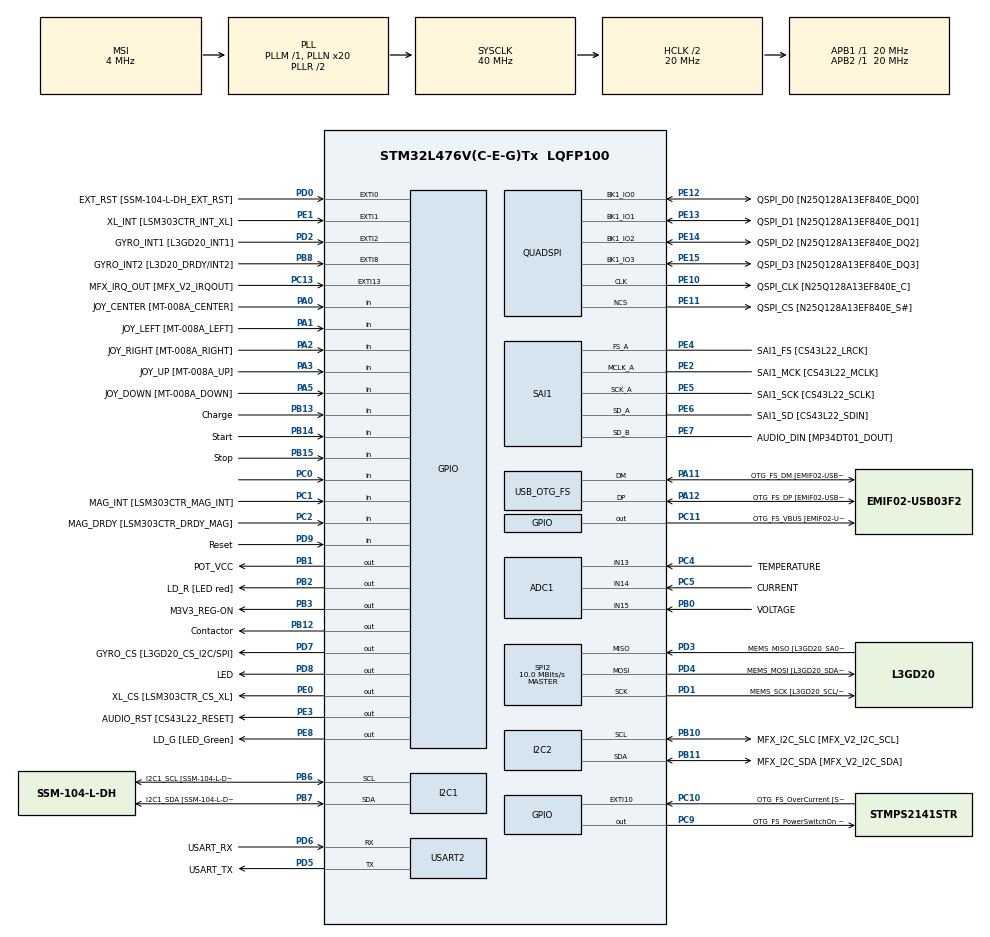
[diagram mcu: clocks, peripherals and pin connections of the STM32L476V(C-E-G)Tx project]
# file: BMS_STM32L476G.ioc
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ADC1.Channel-3\#ChannelRegularConversion=ADC_CHANNEL_13
ADC1.Channel-4\#ChannelRegularConversion=ADC_CHANNEL_14
ADC1.Channel-5\#ChannelRegularConversion=ADC_CHANNEL_15
ADC1.NbrOfConversion=3
ADC1.NbrOfConversionFlag=1
ADC1.OffsetNumber-3\#ChannelRegularConversion=ADC_OFFSET_NONE
ADC1.OffsetNumber-4\#ChannelRegularConversion=ADC_OFFSET_NONE
ADC1.OffsetNumber-5\#ChannelRegularConversion=ADC_OFFSET_NONE
ADC1.Rank-3\#ChannelRegularConversion=1
ADC1.Rank-4\#ChannelRegularConversion=2
ADC1.Rank-5\#ChannelRegularConversion=3
ADC1.SamplingTime-3\#ChannelRegularConversion=ADC_SAMPLETIME_2CYCLES_5
ADC1.SamplingTime-4\#ChannelRegularConversion=ADC_SAMPLETIME_2CYCLES_5
ADC1.SamplingTime-5\#ChannelRegularConversion=ADC_SAMPLETIME_2CYCLES_5
ADC1.master=1
FREERTOS.BinarySemaphores01=BinSem,Dynamic,NULL
FREERTOS.Tasks01=Measurements,32,128,StartMeasurements,Default,NULL,Dynamic,NULL,NULL;StateMachine,24,128,StartStateMachine,Default,NULL,Dynamic,NULL,NULL;Led,16,128,StartLed,Default,NULL,Dynamic,NULL,NULL
I2C1.Timing=0x00404C74
I2C2.Timing=0x00404C74
Mcu.Family=STM32L4
Mcu.Name=STM32L476V(C-E-G)Tx
Mcu.Package=LQFP100
NVIC.OTG_FS_IRQn=true\:0\:0\:false\:false\:true\:false\:true\:true
NVIC.PriorityGroup=NVIC_PRIORITYGROUP_4
NVIC.TIM1_UP_TIM16_IRQn=true\:0\:0\:false\:false\:true\:false\:false\:true
NVIC.TimeBase=TIM1_UP_TIM16_IRQn
NVIC.TimeBaseIP=TIM1
PA0.GPIO_Label=JOY_CENTER [MT-008A_CENTER]
PA0.GPIO_Mode=GPIO_MODE_INPUT
PA0.GPIO_PuPd=GPIO_PULLDOWN
PA0.Signal=GPIO_Input
PA1.GPIO_Label=JOY_LEFT [MT-008A_LEFT]
PA1.GPIO_Mode=GPIO_MODE_INPUT
PA1.GPIO_PuPd=GPIO_PULLDOWN
PA1.Signal=GPIO_Input
PA11.GPIO_Label=OTG_FS_DM [EMIF02-USB03F2_D-out]
PA11.GPIO_Mode=GPIO_MODE_AF_PP
PA11.GPIO_PuPd=GPIO_NOPULL
PA11.GPIO_Speed=GPIO_SPEED_FREQ_VERY_HIGH
PA11.Mode=Host_Only
PA11.Signal=USB_OTG_FS_DM
PA12.GPIO_Label=OTG_FS_DP [EMIF02-USB03F2_D+out]
PA12.GPIO_Mode=GPIO_MODE_AF_PP
PA12.GPIO_PuPd=GPIO_NOPULL
PA12.GPIO_Speed=GPIO_SPEED_FREQ_VERY_HIGH
PA12.Mode=Host_Only
PA12.Signal=USB_OTG_FS_DP
PA13\ (JTMS-SWDIO).GPIO_Label=SWDIO
PA13\ (JTMS-SWDIO).Mode=Serial_Wire
PA13\ (JTMS-SWDIO).Signal=SYS_JTMS-SWDIO
PA14\ (JTCK-SWCLK).GPIO_Label=SWCLK
PA14\ (JTCK-SWCLK).Mode=Serial_Wire
PA14\ (JTCK-SWCLK).Signal=SYS_JTCK-SWCLK
PA2.GPIO_Label=JOY_RIGHT [MT-008A_RIGHT]
PA2.GPIO_Mode=GPIO_MODE_INPUT
PA2.GPIO_PuPd=GPIO_PULLDOWN
PA2.Signal=GPIO_Input
PA3.GPIO_Label=JOY_UP [MT-008A_UP]
PA3.GPIO_Mode=GPIO_MODE_INPUT
PA3.GPIO_PuPd=GPIO_PULLDOWN
PA3.Signal=GPIO_Input
PA5.GPIO_Label=JOY_DOWN [MT-008A_DOWN]
PA5.GPIO_Mode=GPIO_MODE_INPUT
PA5.GPIO_PuPd=GPIO_PULLDOWN
PA5.Signal=GPIO_Input
PB0.GPIO_Label=VOLTAGE
PB0.Signal=ADCx_IN15
PB1.GPIO_Label=POT_VCC
PB1.PinState=GPIO_PIN_SET
PB1.Signal=GPIO_Output
PB10.GPIO_Label=MFX_I2C_SLC [MFX_V2_I2C_SCL]
PB10.GPIO_Mode=GPIO_MODE_AF_OD
PB10.GPIO_PuPdOD=GPIO_PULLUP
PB10.GPIO_Speed=GPIO_SPEED_FREQ_VERY_HIGH
PB10.Mode=I2C
PB10.Signal=I2C2_SCL
PB11.GPIO_Label=MFX_I2C_SDA [MFX_V2_I2C_SDA]
PB11.GPIO_Mode=GPIO_MODE_AF_OD
PB11.GPIO_PuPdOD=GPIO_PULLUP
PB11.GPIO_Speed=GPIO_SPEED_FREQ_VERY_HIGH
PB11.Mode=I2C
PB11.Signal=I2C2_SDA
PB12.GPIO_Label=Contactor
PB12.Signal=GPIO_Output
PB13.GPIO_Label=Charge
PB13.Signal=GPIO_Input
PB14.GPIO_Label=Start
PB14.Signal=GPIO_Input
PB15.GPIO_Label=Stop
PB15.Signal=GPIO_Input
PB2.GPIO_Label=LD_R [LED red]
PB2.GPIO_ModeDefaultOutputPP=GPIO_MODE_OUTPUT_PP
PB2.GPIO_PuPd=GPIO_PULLUP
PB2.GPIO_Speed=GPIO_SPEED_FREQ_VERY_HIGH
PB2.Signal=GPIO_Output
PB3\ (JTDO-TRACESWO).GPIO_Label=M3V3_REG-ON
PB3\ (JTDO-TRACESWO).GPIO_ModeDefaultOutputPP=GPIO_MODE_OUTPUT_PP
PB3\ (JTDO-TRACESWO).GPIO_PuPd=GPIO_NOPULL
PB3\ (JTDO-TRACESWO).GPIO_Speed=GPIO_SPEED_FREQ_LOW
PB3\ (JTDO-TRACESWO).Signal=GPIO_Output
PB6.GPIO_FM6=__NULL
PB6.GPIO_Label=I2C1_SCL [SSM-104-L-DH_SCL]
PB6.GPIO_Mode=GPIO_MODE_AF_OD
PB6.GPIO_PuPdOD=GPIO_PULLUP
PB6.GPIO_Speed=GPIO_SPEED_FREQ_VERY_HIGH
PB6.Mode=I2C
PB6.Signal=I2C1_SCL
PB7.GPIO_FM7=__NULL
PB7.GPIO_Label=I2C1_SDA [SSM-104-L-DH_SDA]
PB7.GPIO_Mode=GPIO_MODE_AF_OD
PB7.GPIO_PuPdOD=GPIO_PULLUP
PB7.GPIO_Speed=GPIO_SPEED_FREQ_VERY_HIGH
PB7.Mode=I2C
PB7.Signal=I2C1_SDA
PB8.GPIO_Label=GYRO_INT2 [L3D20_DRDY/INT2]
PB8.GPIO_ModeDefaultEXTI=GPIO_MODE_EVT_RISING
PB8.GPIO_PuPd=GPIO_NOPULL
PB8.Signal=GPXTI8
PC0.Signal=GPIO_Input
PC1.GPIO_Label=MAG_INT [LSM303CTR_MAG_INT]
PC1.GPIO_Mode=GPIO_MODE_INPUT
PC1.GPIO_PuPd=GPIO_NOPULL
PC1.Signal=GPIO_Input
PC10.GPIO_Label=OTG_FS_OverCurrent [STMPS2141STR_FAULT]
PC10.GPIO_ModeDefaultEXTI=GPIO_MODE_EVT_RISING
PC10.GPIO_PuPd=GPIO_NOPULL
PC10.Signal=GPXTI10
PC11.GPIO_Label=OTG_FS_VBUS [EMIF02-USB03F2_Vbus]
PC11.GPIO_ModeDefaultOutputPP=GPIO_MODE_OUTPUT_PP
PC11.GPIO_PuPd=GPIO_NOPULL
PC11.GPIO_Speed=GPIO_SPEED_FREQ_LOW
PC11.Signal=GPIO_Output
PC13.GPIO_Label=MFX_IRQ_OUT [MFX_V2_IRQOUT]
PC13.GPIO_ModeDefaultEXTI=GPIO_MODE_EVT_RISING
PC13.GPIO_PuPd=GPIO_NOPULL
PC13.Signal=GPXTI13
PC14-OSC32_IN\ (PC14).Mode=LSE-External-Oscillator
PC14-OSC32_IN\ (PC14).Signal=RCC_OSC32_IN
PC15-OSC32_OUT\ (PC15).Mode=LSE-External-Oscillator
PC15-OSC32_OUT\ (PC15).Signal=RCC_OSC32_OUT
PC2.GPIO_Label=MAG_DRDY [LSM303CTR_DRDY_MAG]
PC2.GPIO_Mode=GPIO_MODE_INPUT
PC2.GPIO_PuPd=GPIO_NOPULL
PC2.Signal=GPIO_Input
PC3.GPIO_Label=VLCD
PC3.GPIO_Mode=GPIO_MODE_AF_PP
PC3.GPIO_PuPd=GPIO_NOPULL
PC3.GPIO_Speed=GPIO_SPEED_FREQ_LOW
PC3.Signal=LCD_VLCD
PC4.GPIO_Label=TEMPERATURE
PC4.Signal=ADCx_IN13
PC5.GPIO_Label=CURRENT
PC5.Signal=ADCx_IN14
PC9.GPIO_Label=OTG_FS_PowerSwitchOn [STMPS2141STR_EN]
PC9.GPIO_ModeDefaultOutputPP=GPIO_MODE_OUTPUT_PP
PC9.GPIO_PuPd=GPIO_NOPULL
PC9.GPIO_Speed=GPIO_SPEED_FREQ_LOW
PC9.PinState=GPIO_PIN_SET
PC9.Signal=GPIO_Output
PD0.GPIO_Label=EXT_RST [SSM-104-L-DH_EXT_RST]
PD0.GPIO_ModeDefaultEXTI=GPIO_MODE_EVT_RISING
PD0.GPIO_PuPd=GPIO_NOPULL
PD0.Signal=GPXTI0
PD1.GPIO_Label=MEMS_SCK [L3GD20_SCL/SPC]
PD1.GPIO_Mode=GPIO_MODE_AF_PP
PD1.GPIO_PuPd=GPIO_NOPULL
PD1.GPIO_Speed=GPIO_SPEED_FREQ_VERY_HIGH
PD1.Mode=Full_Duplex_Master
PD1.Signal=SPI2_SCK
PD2.GPIO_Label=GYRO_INT1 [L3GD20_INT1]
PD2.GPIO_ModeDefaultEXTI=GPIO_MODE_EVT_RISING
PD2.GPIO_PuPd=GPIO_NOPULL
PD2.Signal=GPXTI2
PD3.GPIO_Label=MEMS_MISO [L3GD20_SA0/SDO]
PD3.GPIO_Mode=GPIO_MODE_AF_PP
PD3.GPIO_PuPd=GPIO_NOPULL
PD3.GPIO_Speed=GPIO_SPEED_FREQ_VERY_HIGH
PD3.Mode=Full_Duplex_Master
PD3.Signal=SPI2_MISO
PD4.GPIO_Label=MEMS_MOSI [L3GD20_SDA/SDI/SDO]
PD4.GPIO_Mode=GPIO_MODE_AF_PP
PD4.GPIO_PuPd=GPIO_NOPULL
PD4.GPIO_Speed=GPIO_SPEED_FREQ_VERY_HIGH
PD4.Mode=Full_Duplex_Master
PD4.Signal=SPI2_MOSI
PD5.GPIO_Label=USART_TX
PD5.GPIO_Mode=GPIO_MODE_AF_PP
PD5.GPIO_PuPd=GPIO_PULLUP
PD5.GPIO_Speed=GPIO_SPEED_FREQ_VERY_HIGH
PD5.Mode=Asynchronous
PD5.Signal=USART2_TX
PD6.GPIO_Label=USART_RX
PD6.GPIO_Mode=GPIO_MODE_AF_PP
PD6.GPIO_PuPd=GPIO_PULLUP
PD6.GPIO_Speed=GPIO_SPEED_FREQ_VERY_HIGH
PD6.Mode=Asynchronous
PD6.Signal=USART2_RX
PD7.GPIO_Label=GYRO_CS [L3GD20_CS_I2C/SPI]
PD7.GPIO_ModeDefaultOutputPP=GPIO_MODE_OUTPUT_PP
PD7.GPIO_PuPd=GPIO_NOPULL
PD7.GPIO_Speed=GPIO_SPEED_FREQ_VERY_HIGH
PD7.Signal=GPIO_Output
PD8.GPIO_Label=LED
PD8.Signal=GPIO_Output
PD9.GPIO_Label=Reset
PD9.Signal=GPIO_Input
PE0.GPIO_Label=XL_CS [LSM303CTR_CS_XL]
PE0.GPIO_ModeDefaultOutputPP=GPIO_MODE_OUTPUT_PP
PE0.GPIO_PuPd=GPIO_NOPULL
PE0.GPIO_Speed=GPIO_SPEED_FREQ_LOW
PE0.Signal=GPIO_Output
PE1.GPIO_Label=XL_INT [LSM303CTR_INT_XL]
PE1.GPIO_ModeDefaultEXTI=GPIO_MODE_EVT_RISING
PE1.GPIO_PuPd=GPIO_NOPULL
PE1.Signal=GPXTI1
PE10.GPIO_Label=QSPI_CLK [N25Q128A13EF840E_C]
PE10.GPIO_Mode=GPIO_MODE_AF_PP
PE10.GPIO_PuPd=GPIO_NOPULL
PE10.GPIO_Speed=GPIO_SPEED_FREQ_VERY_HIGH
PE10.Mode=Single Bank
PE10.Signal=QUADSPI_CLK
PE11.GPIO_Label=QSPI_CS [N25Q128A13EF840E_S\#]
PE11.GPIO_Mode=GPIO_MODE_AF_PP
PE11.GPIO_PuPd=GPIO_NOPULL
PE11.GPIO_Speed=GPIO_SPEED_FREQ_VERY_HIGH
PE11.Mode=Single Bank
PE11.Signal=QUADSPI_NCS
PE12.GPIO_Label=QSPI_D0 [N25Q128A13EF840E_DQ0]
PE12.GPIO_Mode=GPIO_MODE_AF_PP
PE12.GPIO_PuPd=GPIO_NOPULL
PE12.GPIO_Speed=GPIO_SPEED_FREQ_VERY_HIGH
PE12.Mode=Single Bank
PE12.Signal=QUADSPI_BK1_IO0
PE13.GPIO_Label=QSPI_D1 [N25Q128A13EF840E_DQ1]
PE13.GPIO_Mode=GPIO_MODE_AF_PP
PE13.GPIO_PuPd=GPIO_NOPULL
PE13.GPIO_Speed=GPIO_SPEED_FREQ_VERY_HIGH
PE13.Mode=Single Bank
PE13.Signal=QUADSPI_BK1_IO1
PE14.GPIO_Label=QSPI_D2 [N25Q128A13EF840E_DQ2]
PE14.GPIO_Mode=GPIO_MODE_AF_PP
PE14.GPIO_PuPd=GPIO_NOPULL
PE14.GPIO_Speed=GPIO_SPEED_FREQ_VERY_HIGH
PE14.Mode=Single Bank
PE14.Signal=QUADSPI_BK1_IO2
PE15.GPIO_Label=QSPI_D3 [N25Q128A13EF840E_DQ3]
PE15.GPIO_Mode=GPIO_MODE_AF_PP
PE15.GPIO_PuPd=GPIO_NOPULL
PE15.GPIO_Speed=GPIO_SPEED_FREQ_VERY_HIGH
PE15.Mode=Single Bank
PE15.Signal=QUADSPI_BK1_IO3
PE2.GPIO_Label=SAI1_MCK [CS43L22_MCLK]
PE2.GPIO_Mode=GPIO_MODE_AF_PP
PE2.GPIO_PuPd=GPIO_NOPULL
PE2.GPIO_Speed=GPIO_SPEED_FREQ_VERY_HIGH
PE2.Mode=SAI_A_MasterWithClock
PE2.Signal=SAI1_MCLK_A
PE3.GPIO_Label=AUDIO_RST [CS43L22_RESET]
PE3.GPIO_ModeDefaultOutputPP=GPIO_MODE_OUTPUT_PP
PE3.GPIO_PuPd=GPIO_NOPULL
PE3.GPIO_Speed=GPIO_SPEED_FREQ_HIGH
PE3.Signal=GPIO_Output
PE4.GPIO_Label=SAI1_FS [CS43L22_LRCK]
PE4.GPIO_Mode=GPIO_MODE_AF_PP
PE4.GPIO_PuPd=GPIO_NOPULL
PE4.GPIO_Speed=GPIO_SPEED_FREQ_VERY_HIGH
PE4.Mode=SAI_A_MasterWithClock
PE4.Signal=SAI1_FS_A
PE5.GPIO_Label=SAI1_SCK [CS43L22_SCLK]
PE5.GPIO_Mode=GPIO_MODE_AF_PP
PE5.GPIO_PuPd=GPIO_NOPULL
PE5.GPIO_Speed=GPIO_SPEED_FREQ_VERY_HIGH
PE5.Mode=SAI_A_MasterWithClock
PE5.Signal=SAI1_SCK_A
PE6.GPIO_Label=SAI1_SD [CS43L22_SDIN]
PE6.GPIO_Mode=GPIO_MODE_AF_PP
PE6.GPIO_PuPd=GPIO_NOPULL
PE6.GPIO_Speed=GPIO_SPEED_FREQ_VERY_HIGH
PE6.Mode=SAI_A_MasterWithClock
PE6.Signal=SAI1_SD_A
PE7.GPIO_Label=AUDIO_DIN [MP34DT01_DOUT]
PE7.GPIO_Mode=GPIO_MODE_AF_PP
PE7.GPIO_PuPd=GPIO_NOPULL
PE7.GPIO_Speed=GPIO_SPEED_FREQ_VERY_HIGH
PE7.Mode=SAI_B_SyncSlave
PE7.Signal=SAI1_SD_B
PE8.GPIO_Label=LD_G [LED_Green]
PE8.GPIO_ModeDefaultOutputPP=GPIO_MODE_OUTPUT_PP
PE8.GPIO_PuPd=GPIO_PULLUP
PE8.GPIO_Speed=GPIO_SPEED_FREQ_VERY_HIGH
PE8.Signal=GPIO_Output
PE9.GPIO_Label=AUDIO_CLK [MP34DT01_CLK]
PE9.GPIO_Mode=GPIO_MODE_AF_PP
PE9.GPIO_PuPd=GPIO_NOPULL
PE9.GPIO_Speed=GPIO_SPEED_FREQ_LOW
PE9.Signal=SAI1_FS_B
PH0-OSC_IN\ (PH0).Mode=HSE-External-Oscillator
PH0-OSC_IN\ (PH0).Signal=RCC_OSC_IN
PH1-OSC_OUT\ (PH1).Mode=HSE-External-Oscillator
PH1-OSC_OUT\ (PH1).Signal=RCC_OSC_OUT
ProjectManager.HeapSize=0x200
ProjectManager.StackSize=0x400
ProjectManager.TargetToolchain=STM32CubeIDE
RCC.ADCFreq_Value=48000000
RCC.AHBCLKDivider=RCC_SYSCLK_DIV2
RCC.AHBFreq_Value=20000000
RCC.APB1Freq_Value=20000000
RCC.APB1TimFreq_Value=20000000
RCC.APB2Freq_Value=20000000
RCC.APB2TimFreq_Value=20000000
RCC.CortexFreq_Value=20000000
RCC.HCLKFreq_Value=20000000
RCC.HSE_VALUE=8000000
RCC.HSI_VALUE=16000000
RCC.MSI_VALUE=4000000
RCC.PLLN=20
RCC.PLLSAI1N=24
RCC.PREFETCH_ENABLE=1
RCC.SYSCLKFreq_VALUE=40000000
RCC.SYSCLKSource=RCC_SYSCLKSOURCE_PLLCLK
RCC.USBFreq_Value=48000000
RCC.VCOOutputFreq_Value=80000000
SAI1.Instance-SAI_A_MasterWithClock=SAI$Index_Block_A
SAI1.Instance-SAI_B_SyncSlave=SAI$Index_Block_B
SAI1.MClockEnable-SAI_A_MasterWithClock=SAI_MASTERCLOCK_ENABLE
SAI1.Synchro-SAI_B_SyncSlave=SAI_SYNCHRONOUS
SAI1.VirtualMode-SAI_A_MasterWithClock=VM_MASTER
SAI1.VirtualMode-SAI_B_SyncSlave=VM_SLAVE
SH.ADCx_IN13.0=ADC1_IN13,IN13-Single-Ended
SH.ADCx_IN14.0=ADC1_IN14,IN14-Single-Ended
SH.ADCx_IN15.0=ADC1_IN15,IN15-Single-Ended
SPI2.CalculateBaudRate=10.0 MBits/s
SPI2.Direction=SPI_DIRECTION_2LINES
SPI2.Mode=SPI_MODE_MASTER
SPI2.VirtualType=VM_MASTER
USART2.VirtualMode-Asynchronous=VM_ASYNC
USB_OTG_FS.VirtualMode=Host_Only
USB_OTG_FS.phy_itface=HCD_PHY_EMBEDDED
VP_FREERTOS_VS_CMSIS_V2.Mode=CMSIS_V2
VP_IWDG_VS_IWDG.Mode=IWDG_Activate
VP_SYS_VS_tim1.Mode=TIM1
VP_WWDG_VS_WWDG.Mode=WWDG_Activate
board=STM32L476G-DISCO

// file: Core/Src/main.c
/* USER CODE BEGIN Header */
/**
  ******************************************************************************
  * @file           : main.c
  * @brief          : Main program body
  ******************************************************************************
  * @attention
  *
  * <h2><center>&copy; Copyright (c) 2020 STMicroelectronics.
  * All rights reserved.</center></h2>
  *
  * This software component is licensed by ST under Ultimate Liberty license
  * SLA0044, the "License"; You may not use this file except in compliance with
  * the License. You may obtain a copy of the License at:
  *                             www.st.com/SLA0044
  *
  ******************************************************************************
  */
/* USER CODE END Header */
#include "main.h"
#include "cmsis_os.h"

/* USER CODE BEGIN Includes */
#include <stdio.h>
#include <string.h>
#include "led.h"
/* USER CODE END Includes */

ADC_HandleTypeDef hadc1;

I2C_HandleTypeDef hi2c1;
I2C_HandleTypeDef hi2c2;

IWDG_HandleTypeDef hiwdg;

QSPI_HandleTypeDef hqspi;

SAI_HandleTypeDef hsai_BlockA1;
SAI_HandleTypeDef hsai_BlockB1;

SPI_HandleTypeDef hspi2;

UART_HandleTypeDef huart2;

HCD_HandleTypeDef hhcd_USB_OTG_FS;

WWDG_HandleTypeDef hwwdg;

/* Definitions for Measurements */
osThreadId_t MeasurementsHandle;
const osThreadAttr_t Measurements_attributes = {
  .name = "Measurements",
  .priority = (osPriority_t) osPriorityAboveNormal,
  .stack_size = 128 * 4
};
/* Definitions for StateMachine */
osThreadId_t StateMachineHandle;
const osThreadAttr_t StateMachine_attributes = {
  .name = "StateMachine",
  .priority = (osPriority_t) osPriorityNormal,
  .stack_size = 128 * 4
};
/* Definitions for Led */
osThreadId_t LedHandle;
const osThreadAttr_t Led_attributes = {
  .name = "Led",
  .priority = (osPriority_t) osPriorityBelowNormal,
  .stack_size = 128 * 4
};
/* Definitions for BinSem */
osSemaphoreId_t BinSemHandle;
const osSemaphoreAttr_t BinSem_attributes = {
  .name = "BinSem"
};

void SystemClock_Config(void);
static void MX_GPIO_Init(void);
static void MX_I2C1_Init(void);
static void MX_I2C2_Init(void);
static void MX_QUADSPI_Init(void);
static void MX_SAI1_Init(void);
static void MX_SPI2_Init(void);
static void MX_USART2_UART_Init(void);
static void MX_ADC1_Init(void);
static void MX_USB_OTG_FS_HCD_Init(void);
static void MX_IWDG_Init(void);
static void MX_WWDG_Init(void);
void StartMeasurements(void *argument);
void StartStateMachine(void *argument);
void StartLed(void *argument);

/* USER CODE BEGIN 0 */
Battery BatteryPack;

void BatteryInit(void) {
	BatteryPack.voltage = 0;
	BatteryPack.current = 0;
	BatteryPack.temperature = 0;
	for (int i = 0; i < numCells; i++) {
		Cell cell = {
			.voltage = 0,
			.temperature = 0
		};
		BatteryPack.cells[i] = cell;
	}
}

/* This is created to display the state name in serial terminal. */
const char *StateNames[] = {
  "Initialize",
  "Idle",
  "Precharging",
  "Run",
  "Stop",
  "Sleep",
  "NormalDangerFault",
  "SevereDangerFault",
  "Charging",
  "Charged",
  "Balancing"
};

State_t CurrentState = Initialize;
State_t OldState = Sleep;

StateMachine SM[11] = {
    {Initialize, InitializeEvent},
	{Idle, IdleEvent},
	{Precharging, PrechargingEvent},
	{Run, RunEvent},
	{Stop, StopEvent},
	{Sleep, SleepEvent},
	{NormalDangerFault, NormalDangerFaultEvent},
	{SevereDangerFault, SevereDangerFaultEvent},
	{Charging, ChargingEvent},
	{Charged, ChargedEvent},
	{Balancing, BalancingEvent}
};
/* USER CODE END 0 */

int main(void)
{

  /* MCU Configuration--------------------------------------------------------*/

  /* Reset of all peripherals, Initializes the Flash interface and the Systick. */
  HAL_Init();

  /* Configure the system clock */
  SystemClock_Config();

  /* Initialize all configured peripherals */
  MX_GPIO_Init();
  MX_I2C1_Init();
  MX_I2C2_Init();
  MX_QUADSPI_Init();
  MX_SAI1_Init();
  MX_SPI2_Init();
  MX_USART2_UART_Init();
  MX_ADC1_Init();
  MX_USB_OTG_FS_HCD_Init();
  MX_IWDG_Init();
  MX_WWDG_Init();

  /* Init scheduler */
  osKernelInitialize();

  /* Create the semaphores(s) */
  /* creation of BinSem */
  BinSemHandle = osSemaphoreNew(1, 1, &BinSem_attributes);

  /* Create the thread(s) */
  /* creation of Measurements */
  MeasurementsHandle = osThreadNew(StartMeasurements, NULL, &Measurements_attributes);

  /* creation of StateMachine */
  StateMachineHandle = osThreadNew(StartStateMachine, NULL, &StateMachine_attributes);

  /* creation of Led */
  LedHandle = osThreadNew(StartLed, NULL, &Led_attributes);

  /* Start scheduler */
  osKernelStart();

  /* We should never get here as control is now taken by the scheduler */
  /* Infinite loop */
  while (1)
  {

  }
}

void SystemClock_Config(void)
{
  RCC_OscInitTypeDef RCC_OscInitStruct = {0};
  RCC_ClkInitTypeDef RCC_ClkInitStruct = {0};
  RCC_PeriphCLKInitTypeDef PeriphClkInit = {0};

  /** Configure LSE Drive Capability
  */
  HAL_PWR_EnableBkUpAccess();
  __HAL_RCC_LSEDRIVE_CONFIG(RCC_LSEDRIVE_LOW);
  /** Initializes the RCC Oscillators according to the specified parameters
  * in the RCC_OscInitTypeDef structure.
  */
  RCC_OscInitStruct.OscillatorType = RCC_OSCILLATORTYPE_LSI|RCC_OSCILLATORTYPE_LSE
                              |RCC_OSCILLATORTYPE_MSI;
  RCC_OscInitStruct.LSEState = RCC_LSE_ON;
  RCC_OscInitStruct.LSIState = RCC_LSI_ON;
  RCC_OscInitStruct.MSIState = RCC_MSI_ON;
  RCC_OscInitStruct.MSICalibrationValue = 0;
  RCC_OscInitStruct.MSIClockRange = RCC_MSIRANGE_6;
  RCC_OscInitStruct.PLL.PLLState = RCC_PLL_ON;
  RCC_OscInitStruct.PLL.PLLSource = RCC_PLLSOURCE_MSI;
  RCC_OscInitStruct.PLL.PLLM = 1;
  RCC_OscInitStruct.PLL.PLLN = 20;
  RCC_OscInitStruct.PLL.PLLP = RCC_PLLP_DIV7;
  RCC_OscInitStruct.PLL.PLLQ = RCC_PLLQ_DIV2;
  RCC_OscInitStruct.PLL.PLLR = RCC_PLLR_DIV2;
  if (HAL_RCC_OscConfig(&RCC_OscInitStruct) != HAL_OK)
  {
    Error_Handler();
  }
  /** Initializes the CPU, AHB and APB buses clocks
  */
  RCC_ClkInitStruct.ClockType = RCC_CLOCKTYPE_HCLK|RCC_CLOCKTYPE_SYSCLK
                              |RCC_CLOCKTYPE_PCLK1|RCC_CLOCKTYPE_PCLK2;
  RCC_ClkInitStruct.SYSCLKSource = RCC_SYSCLKSOURCE_PLLCLK;
  RCC_ClkInitStruct.AHBCLKDivider = RCC_SYSCLK_DIV2;
  RCC_ClkInitStruct.APB1CLKDivider = RCC_HCLK_DIV1;
  RCC_ClkInitStruct.APB2CLKDivider = RCC_HCLK_DIV1;

  if (HAL_RCC_ClockConfig(&RCC_ClkInitStruct, FLASH_LATENCY_1) != HAL_OK)
  {
    Error_Handler();
  }
  PeriphClkInit.PeriphClockSelection = RCC_PERIPHCLK_USART2|RCC_PERIPHCLK_SAI1
                              |RCC_PERIPHCLK_I2C1|RCC_PERIPHCLK_I2C2
                              |RCC_PERIPHCLK_USB|RCC_PERIPHCLK_ADC;
  PeriphClkInit.Usart2ClockSelection = RCC_USART2CLKSOURCE_PCLK1;
  PeriphClkInit.I2c1ClockSelection = RCC_I2C1CLKSOURCE_PCLK1;
  PeriphClkInit.I2c2ClockSelection = RCC_I2C2CLKSOURCE_PCLK1;
  PeriphClkInit.Sai1ClockSelection = RCC_SAI1CLKSOURCE_PLLSAI1;
  PeriphClkInit.AdcClockSelection = RCC_ADCCLKSOURCE_PLLSAI1;
  PeriphClkInit.UsbClockSelection = RCC_USBCLKSOURCE_PLLSAI1;
  PeriphClkInit.PLLSAI1.PLLSAI1Source = RCC_PLLSOURCE_MSI;
  PeriphClkInit.PLLSAI1.PLLSAI1M = 1;
  PeriphClkInit.PLLSAI1.PLLSAI1N = 24;
  PeriphClkInit.PLLSAI1.PLLSAI1P = RCC_PLLP_DIV7;
  PeriphClkInit.PLLSAI1.PLLSAI1Q = RCC_PLLQ_DIV2;
  PeriphClkInit.PLLSAI1.PLLSAI1R = RCC_PLLR_DIV2;
  PeriphClkInit.PLLSAI1.PLLSAI1ClockOut = RCC_PLLSAI1_SAI1CLK|RCC_PLLSAI1_48M2CLK
                              |RCC_PLLSAI1_ADC1CLK;
  if (HAL_RCCEx_PeriphCLKConfig(&PeriphClkInit) != HAL_OK)
  {
    Error_Handler();
  }
  /** Configure the main internal regulator output voltage
  */
  if (HAL_PWREx_ControlVoltageScaling(PWR_REGULATOR_VOLTAGE_SCALE1) != HAL_OK)
  {
    Error_Handler();
  }
  /** Enable MSI Auto calibration
  */
  HAL_RCCEx_EnableMSIPLLMode();
}

static void MX_ADC1_Init(void)
{

  ADC_MultiModeTypeDef multimode = {0};
  ADC_ChannelConfTypeDef sConfig = {0};

  /** Common config
  */
  hadc1.Instance = ADC1;
  hadc1.Init.ClockPrescaler = ADC_CLOCK_ASYNC_DIV1;
  hadc1.Init.Resolution = ADC_RESOLUTION_12B;
  hadc1.Init.DataAlign = ADC_DATAALIGN_RIGHT;
  hadc1.Init.ScanConvMode = ADC_SCAN_ENABLE;
  hadc1.Init.EOCSelection = ADC_EOC_SINGLE_CONV;
  hadc1.Init.LowPowerAutoWait = DISABLE;
  hadc1.Init.ContinuousConvMode = DISABLE;
  hadc1.Init.NbrOfConversion = 3;
  hadc1.Init.DiscontinuousConvMode = DISABLE;
  hadc1.Init.ExternalTrigConv = ADC_SOFTWARE_START;
  hadc1.Init.ExternalTrigConvEdge = ADC_EXTERNALTRIGCONVEDGE_NONE;
  hadc1.Init.DMAContinuousRequests = DISABLE;
  hadc1.Init.Overrun = ADC_OVR_DATA_PRESERVED;
  hadc1.Init.OversamplingMode = DISABLE;
  if (HAL_ADC_Init(&hadc1) != HAL_OK)
  {
    Error_Handler();
  }
  /** Configure the ADC multi-mode
  */
  multimode.Mode = ADC_MODE_INDEPENDENT;
  if (HAL_ADCEx_MultiModeConfigChannel(&hadc1, &multimode) != HAL_OK)
  {
    Error_Handler();
  }
  /** Configure Regular Channel
  */
  sConfig.Channel = ADC_CHANNEL_13;
  sConfig.Rank = ADC_REGULAR_RANK_1;
  sConfig.SamplingTime = ADC_SAMPLETIME_2CYCLES_5;
  sConfig.SingleDiff = ADC_SINGLE_ENDED;
  sConfig.OffsetNumber = ADC_OFFSET_NONE;
  sConfig.Offset = 0;
  if (HAL_ADC_ConfigChannel(&hadc1, &sConfig) != HAL_OK)
  {
    Error_Handler();
  }
  /** Configure Regular Channel
  */
  sConfig.Channel = ADC_CHANNEL_14;
  sConfig.Rank = ADC_REGULAR_RANK_2;
  if (HAL_ADC_ConfigChannel(&hadc1, &sConfig) != HAL_OK)
  {
    Error_Handler();
  }
  /** Configure Regular Channel
  */
  sConfig.Channel = ADC_CHANNEL_15;
  sConfig.Rank = ADC_REGULAR_RANK_3;
  if (HAL_ADC_ConfigChannel(&hadc1, &sConfig) != HAL_OK)
  {
    Error_Handler();
  }

}

static void MX_I2C1_Init(void)
{

  hi2c1.Instance = I2C1;
  hi2c1.Init.Timing = 0x00404C74;
  hi2c1.Init.OwnAddress1 = 0;
  hi2c1.Init.AddressingMode = I2C_ADDRESSINGMODE_7BIT;
  hi2c1.Init.DualAddressMode = I2C_DUALADDRESS_DISABLE;
  hi2c1.Init.OwnAddress2 = 0;
  hi2c1.Init.OwnAddress2Masks = I2C_OA2_NOMASK;
  hi2c1.Init.GeneralCallMode = I2C_GENERALCALL_DISABLE;
  hi2c1.Init.NoStretchMode = I2C_NOSTRETCH_DISABLE;
  if (HAL_I2C_Init(&hi2c1) != HAL_OK)
  {
    Error_Handler();
  }
  /** Configure Analogue filter
  */
  if (HAL_I2CEx_ConfigAnalogFilter(&hi2c1, I2C_ANALOGFILTER_ENABLE) != HAL_OK)
  {
    Error_Handler();
  }
  /** Configure Digital filter
  */
  if (HAL_I2CEx_ConfigDigitalFilter(&hi2c1, 0) != HAL_OK)
  {
    Error_Handler();
  }

}

static void MX_I2C2_Init(void)
{

  hi2c2.Instance = I2C2;
  hi2c2.Init.Timing = 0x00404C74;
  hi2c2.Init.OwnAddress1 = 0;
  hi2c2.Init.AddressingMode = I2C_ADDRESSINGMODE_7BIT;
  hi2c2.Init.DualAddressMode = I2C_DUALADDRESS_DISABLE;
  hi2c2.Init.OwnAddress2 = 0;
  hi2c2.Init.OwnAddress2Masks = I2C_OA2_NOMASK;
  hi2c2.Init.GeneralCallMode = I2C_GENERALCALL_DISABLE;
  hi2c2.Init.NoStretchMode = I2C_NOSTRETCH_DISABLE;
  if (HAL_I2C_Init(&hi2c2) != HAL_OK)
  {
    Error_Handler();
  }
  /** Configure Analogue filter
  */
  if (HAL_I2CEx_ConfigAnalogFilter(&hi2c2, I2C_ANALOGFILTER_ENABLE) != HAL_OK)
  {
    Error_Handler();
  }
  /** Configure Digital filter
  */
  if (HAL_I2CEx_ConfigDigitalFilter(&hi2c2, 0) != HAL_OK)
  {
    Error_Handler();
  }

}

static void MX_IWDG_Init(void)
{

  hiwdg.Instance = IWDG;
  hiwdg.Init.Prescaler = IWDG_PRESCALER_4;
  hiwdg.Init.Window = 4095;
  hiwdg.Init.Reload = 4095;
  if (HAL_IWDG_Init(&hiwdg) != HAL_OK)
  {
    Error_Handler();
  }

}

static void MX_QUADSPI_Init(void)
{

  /* QUADSPI parameter configuration*/
  hqspi.Instance = QUADSPI;
  hqspi.Init.ClockPrescaler = 255;
  hqspi.Init.FifoThreshold = 1;
  hqspi.Init.SampleShifting = QSPI_SAMPLE_SHIFTING_NONE;
  hqspi.Init.FlashSize = 1;
  hqspi.Init.ChipSelectHighTime = QSPI_CS_HIGH_TIME_1_CYCLE;
  hqspi.Init.ClockMode = QSPI_CLOCK_MODE_0;
  if (HAL_QSPI_Init(&hqspi) != HAL_OK)
  {
    Error_Handler();
  }

}

static void MX_SAI1_Init(void)
{

  hsai_BlockA1.Instance = SAI1_Block_A;
  hsai_BlockA1.Init.Protocol = SAI_FREE_PROTOCOL;
  hsai_BlockA1.Init.AudioMode = SAI_MODEMASTER_TX;
  hsai_BlockA1.Init.DataSize = SAI_DATASIZE_8;
  hsai_BlockA1.Init.FirstBit = SAI_FIRSTBIT_MSB;
  hsai_BlockA1.Init.ClockStrobing = SAI_CLOCKSTROBING_FALLINGEDGE;
  hsai_BlockA1.Init.Synchro = SAI_ASYNCHRONOUS;
  hsai_BlockA1.Init.OutputDrive = SAI_OUTPUTDRIVE_DISABLE;
  hsai_BlockA1.Init.NoDivider = SAI_MASTERDIVIDER_ENABLE;
  hsai_BlockA1.Init.FIFOThreshold = SAI_FIFOTHRESHOLD_EMPTY;
  hsai_BlockA1.Init.AudioFrequency = SAI_AUDIO_FREQUENCY_192K;
  hsai_BlockA1.Init.SynchroExt = SAI_SYNCEXT_DISABLE;
  hsai_BlockA1.Init.MonoStereoMode = SAI_STEREOMODE;
  hsai_BlockA1.Init.CompandingMode = SAI_NOCOMPANDING;
  hsai_BlockA1.Init.TriState = SAI_OUTPUT_NOTRELEASED;
  hsai_BlockA1.FrameInit.FrameLength = 8;
  hsai_BlockA1.FrameInit.ActiveFrameLength = 1;
  hsai_BlockA1.FrameInit.FSDefinition = SAI_FS_STARTFRAME;
  hsai_BlockA1.FrameInit.FSPolarity = SAI_FS_ACTIVE_LOW;
  hsai_BlockA1.FrameInit.FSOffset = SAI_FS_FIRSTBIT;
  hsai_BlockA1.SlotInit.FirstBitOffset = 0;
  hsai_BlockA1.SlotInit.SlotSize = SAI_SLOTSIZE_DATASIZE;
  hsai_BlockA1.SlotInit.SlotNumber = 1;
  hsai_BlockA1.SlotInit.SlotActive = 0x00000000;
  if (HAL_SAI_Init(&hsai_BlockA1) != HAL_OK)
  {
    Error_Handler();
  }
  hsai_BlockB1.Instance = SAI1_Block_B;
  hsai_BlockB1.Init.Protocol = SAI_FREE_PROTOCOL;
  hsai_BlockB1.Init.AudioMode = SAI_MODESLAVE_RX;
  hsai_BlockB1.Init.DataSize = SAI_DATASIZE_8;
  hsai_BlockB1.Init.FirstBit = SAI_FIRSTBIT_MSB;
  hsai_BlockB1.Init.ClockStrobing = SAI_CLOCKSTROBING_FALLINGEDGE;
  hsai_BlockB1.Init.Synchro = SAI_SYNCHRONOUS;
  hsai_BlockB1.Init.OutputDrive = SAI_OUTPUTDRIVE_DISABLE;
  hsai_BlockB1.Init.FIFOThreshold = SAI_FIFOTHRESHOLD_EMPTY;
  hsai_BlockB1.Init.SynchroExt = SAI_SYNCEXT_DISABLE;
  hsai_BlockB1.Init.MonoStereoMode = SAI_STEREOMODE;
  hsai_BlockB1.Init.CompandingMode = SAI_NOCOMPANDING;
  hsai_BlockB1.Init.TriState = SAI_OUTPUT_NOTRELEASED;
  hsai_BlockB1.FrameInit.FrameLength = 8;
  hsai_BlockB1.FrameInit.ActiveFrameLength = 1;
  hsai_BlockB1.FrameInit.FSDefinition = SAI_FS_STARTFRAME;
  hsai_BlockB1.FrameInit.FSPolarity = SAI_FS_ACTIVE_LOW;
  hsai_BlockB1.FrameInit.FSOffset = SAI_FS_FIRSTBIT;
  hsai_BlockB1.SlotInit.FirstBitOffset = 0;
  hsai_BlockB1.SlotInit.SlotSize = SAI_SLOTSIZE_DATASIZE;
  hsai_BlockB1.SlotInit.SlotNumber = 1;
  hsai_BlockB1.SlotInit.SlotActive = 0x00000000;
  if (HAL_SAI_Init(&hsai_BlockB1) != HAL_OK)
  {
    Error_Handler();
  }

}

static void MX_SPI2_Init(void)
{

  /* SPI2 parameter configuration*/
  hspi2.Instance = SPI2;
  hspi2.Init.Mode = SPI_MODE_MASTER;
  hspi2.Init.Direction = SPI_DIRECTION_2LINES;
  hspi2.Init.DataSize = SPI_DATASIZE_4BIT;
  hspi2.Init.CLKPolarity = SPI_POLARITY_LOW;
  hspi2.Init.CLKPhase = SPI_PHASE_1EDGE;
  hspi2.Init.NSS = SPI_NSS_SOFT;
  hspi2.Init.BaudRatePrescaler = SPI_BAUDRATEPRESCALER_2;
  hspi2.Init.FirstBit = SPI_FIRSTBIT_MSB;
  hspi2.Init.TIMode = SPI_TIMODE_DISABLE;
  hspi2.Init.CRCCalculation = SPI_CRCCALCULATION_DISABLE;
  hspi2.Init.CRCPolynomial = 7;
  hspi2.Init.CRCLength = SPI_CRC_LENGTH_DATASIZE;
  hspi2.Init.NSSPMode = SPI_NSS_PULSE_ENABLE;
  if (HAL_SPI_Init(&hspi2) != HAL_OK)
  {
    Error_Handler();
  }

}

static void MX_USART2_UART_Init(void)
{

  huart2.Instance = USART2;
  huart2.Init.BaudRate = 115200;
  huart2.Init.WordLength = UART_WORDLENGTH_8B;
  huart2.Init.StopBits = UART_STOPBITS_1;
  huart2.Init.Parity = UART_PARITY_NONE;
  huart2.Init.Mode = UART_MODE_TX_RX;
  huart2.Init.HwFlowCtl = UART_HWCONTROL_NONE;
  huart2.Init.OverSampling = UART_OVERSAMPLING_16;
  huart2.Init.OneBitSampling = UART_ONE_BIT_SAMPLE_DISABLE;
  huart2.AdvancedInit.AdvFeatureInit = UART_ADVFEATURE_NO_INIT;
  if (HAL_UART_Init(&huart2) != HAL_OK)
  {
    Error_Handler();
  }

}

static void MX_USB_OTG_FS_HCD_Init(void)
{

  hhcd_USB_OTG_FS.Instance = USB_OTG_FS;
  hhcd_USB_OTG_FS.Init.Host_channels = 8;
  hhcd_USB_OTG_FS.Init.speed = HCD_SPEED_FULL;
  hhcd_USB_OTG_FS.Init.dma_enable = DISABLE;
  hhcd_USB_OTG_FS.Init.phy_itface = HCD_PHY_EMBEDDED;
  hhcd_USB_OTG_FS.Init.Sof_enable = DISABLE;
  if (HAL_HCD_Init(&hhcd_USB_OTG_FS) != HAL_OK)
  {
    Error_Handler();
  }

}

static void MX_WWDG_Init(void)
{

  hwwdg.Instance = WWDG;
  hwwdg.Init.Prescaler = WWDG_PRESCALER_1;
  hwwdg.Init.Window = 64;
  hwwdg.Init.Counter = 64;
  hwwdg.Init.EWIMode = WWDG_EWI_DISABLE;
  if (HAL_WWDG_Init(&hwwdg) != HAL_OK)
  {
    Error_Handler();
  }

}

static void MX_GPIO_Init(void)
{
  GPIO_InitTypeDef GPIO_InitStruct = {0};

  /* GPIO Ports Clock Enable */
  __HAL_RCC_GPIOE_CLK_ENABLE();
  __HAL_RCC_GPIOC_CLK_ENABLE();
  __HAL_RCC_GPIOH_CLK_ENABLE();
  __HAL_RCC_GPIOA_CLK_ENABLE();
  __HAL_RCC_GPIOB_CLK_ENABLE();
  __HAL_RCC_GPIOD_CLK_ENABLE();

  /*Configure GPIO pin Output Level */
  HAL_GPIO_WritePin(GPIOE, AUDIO_RST_Pin|LD_G_Pin|XL_CS_Pin, GPIO_PIN_RESET);

  /*Configure GPIO pin Output Level */
  HAL_GPIO_WritePin(POT_VCC_GPIO_Port, POT_VCC_Pin, GPIO_PIN_SET);

  /*Configure GPIO pin Output Level */
  HAL_GPIO_WritePin(GPIOB, LD_R_Pin|Contactor_Pin|M3V3_REG_ON_Pin, GPIO_PIN_RESET);

  /*Configure GPIO pin Output Level */
  HAL_GPIO_WritePin(GPIOD, LED_Pin|GYRO_CS_Pin, GPIO_PIN_RESET);

  /*Configure GPIO pin Output Level */
  HAL_GPIO_WritePin(OTG_FS_PowerSwitchOn_GPIO_Port, OTG_FS_PowerSwitchOn_Pin, GPIO_PIN_SET);

  /*Configure GPIO pin Output Level */
  HAL_GPIO_WritePin(OTG_FS_VBUS_GPIO_Port, OTG_FS_VBUS_Pin, GPIO_PIN_RESET);

  /*Configure GPIO pin : AUDIO_RST_Pin */
  GPIO_InitStruct.Pin = AUDIO_RST_Pin;
  GPIO_InitStruct.Mode = GPIO_MODE_OUTPUT_PP;
  GPIO_InitStruct.Pull = GPIO_NOPULL;
  GPIO_InitStruct.Speed = GPIO_SPEED_FREQ_HIGH;
  HAL_GPIO_Init(AUDIO_RST_GPIO_Port, &GPIO_InitStruct);

  /*Configure GPIO pins : MFX_IRQ_OUT_Pin OTG_FS_OverCurrent_Pin */
  GPIO_InitStruct.Pin = MFX_IRQ_OUT_Pin|OTG_FS_OverCurrent_Pin;
  GPIO_InitStruct.Mode = GPIO_MODE_EVT_RISING;
  GPIO_InitStruct.Pull = GPIO_NOPULL;
  HAL_GPIO_Init(GPIOC, &GPIO_InitStruct);

  /*Configure GPIO pins : PC0 MAG_INT_Pin MAG_DRDY_Pin */
  GPIO_InitStruct.Pin = GPIO_PIN_0|MAG_INT_Pin|MAG_DRDY_Pin;
  GPIO_InitStruct.Mode = GPIO_MODE_INPUT;
  GPIO_InitStruct.Pull = GPIO_NOPULL;
  HAL_GPIO_Init(GPIOC, &GPIO_InitStruct);

  /*Configure GPIO pin : VLCD_Pin */
  GPIO_InitStruct.Pin = VLCD_Pin;
  GPIO_InitStruct.Mode = GPIO_MODE_AF_PP;
  GPIO_InitStruct.Pull = GPIO_NOPULL;
  GPIO_InitStruct.Speed = GPIO_SPEED_FREQ_LOW;
  GPIO_InitStruct.Alternate = GPIO_AF11_LCD;
  HAL_GPIO_Init(VLCD_GPIO_Port, &GPIO_InitStruct);

  /*Configure GPIO pins : JOY_CENTER_Pin JOY_LEFT_Pin JOY_RIGHT_Pin JOY_UP_Pin
                           JOY_DOWN_Pin */
  GPIO_InitStruct.Pin = JOY_CENTER_Pin|JOY_LEFT_Pin|JOY_RIGHT_Pin|JOY_UP_Pin
                          |JOY_DOWN_Pin;
  GPIO_InitStruct.Mode = GPIO_MODE_INPUT;
  GPIO_InitStruct.Pull = GPIO_PULLDOWN;
  HAL_GPIO_Init(GPIOA, &GPIO_InitStruct);

  /*Configure GPIO pins : POT_VCC_Pin Contactor_Pin M3V3_REG_ON_Pin */
  GPIO_InitStruct.Pin = POT_VCC_Pin|Contactor_Pin|M3V3_REG_ON_Pin;
  GPIO_InitStruct.Mode = GPIO_MODE_OUTPUT_PP;
  GPIO_InitStruct.Pull = GPIO_NOPULL;
  GPIO_InitStruct.Speed = GPIO_SPEED_FREQ_LOW;
  HAL_GPIO_Init(GPIOB, &GPIO_InitStruct);

  /*Configure GPIO pin : LD_R_Pin */
  GPIO_InitStruct.Pin = LD_R_Pin;
  GPIO_InitStruct.Mode = GPIO_MODE_OUTPUT_PP;
  GPIO_InitStruct.Pull = GPIO_PULLUP;
  GPIO_InitStruct.Speed = GPIO_SPEED_FREQ_VERY_HIGH;
  HAL_GPIO_Init(LD_R_GPIO_Port, &GPIO_InitStruct);

  /*Configure GPIO pin : LD_G_Pin */
  GPIO_InitStruct.Pin = LD_G_Pin;
  GPIO_InitStruct.Mode = GPIO_MODE_OUTPUT_PP;
  GPIO_InitStruct.Pull = GPIO_PULLUP;
  GPIO_InitStruct.Speed = GPIO_SPEED_FREQ_VERY_HIGH;
  HAL_GPIO_Init(LD_G_GPIO_Port, &GPIO_InitStruct);

  /*Configure GPIO pins : Charge_Pin Start_Pin Stop_Pin */
  GPIO_InitStruct.Pin = Charge_Pin|Start_Pin|Stop_Pin;
  GPIO_InitStruct.Mode = GPIO_MODE_INPUT;
  GPIO_InitStruct.Pull = GPIO_NOPULL;
  HAL_GPIO_Init(GPIOB, &GPIO_InitStruct);

  /*Configure GPIO pin : LED_Pin */
  GPIO_InitStruct.Pin = LED_Pin;
  GPIO_InitStruct.Mode = GPIO_MODE_OUTPUT_PP;
  GPIO_InitStruct.Pull = GPIO_NOPULL;
  GPIO_InitStruct.Speed = GPIO_SPEED_FREQ_LOW;
  HAL_GPIO_Init(LED_GPIO_Port, &GPIO_InitStruct);

  /*Configure GPIO pin : Reset_Pin */
  GPIO_InitStruct.Pin = Reset_Pin;
  GPIO_InitStruct.Mode = GPIO_MODE_INPUT;
  GPIO_InitStruct.Pull = GPIO_NOPULL;
  HAL_GPIO_Init(Reset_GPIO_Port, &GPIO_InitStruct);

  /*Configure GPIO pins : OTG_FS_PowerSwitchOn_Pin OTG_FS_VBUS_Pin */
  GPIO_InitStruct.Pin = OTG_FS_PowerSwitchOn_Pin|OTG_FS_VBUS_Pin;
  GPIO_InitStruct.Mode = GPIO_MODE_OUTPUT_PP;
  GPIO_InitStruct.Pull = GPIO_NOPULL;
  GPIO_InitStruct.Speed = GPIO_SPEED_FREQ_LOW;
  HAL_GPIO_Init(GPIOC, &GPIO_InitStruct);

  /*Configure GPIO pins : EXT_RST_Pin GYRO_INT1_Pin */
  GPIO_InitStruct.Pin = EXT_RST_Pin|GYRO_INT1_Pin;
  GPIO_InitStruct.Mode = GPIO_MODE_EVT_RISING;
  GPIO_InitStruct.Pull = GPIO_NOPULL;
  HAL_GPIO_Init(GPIOD, &GPIO_InitStruct);

  /*Configure GPIO pin : GYRO_CS_Pin */
  GPIO_InitStruct.Pin = GYRO_CS_Pin;
  GPIO_InitStruct.Mode = GPIO_MODE_OUTPUT_PP;
  GPIO_InitStruct.Pull = GPIO_NOPULL;
  GPIO_InitStruct.Speed = GPIO_SPEED_FREQ_VERY_HIGH;
  HAL_GPIO_Init(GYRO_CS_GPIO_Port, &GPIO_InitStruct);

  /*Configure GPIO pin : GYRO_INT2_Pin */
  GPIO_InitStruct.Pin = GYRO_INT2_Pin;
  GPIO_InitStruct.Mode = GPIO_MODE_EVT_RISING;
  GPIO_InitStruct.Pull = GPIO_NOPULL;
  HAL_GPIO_Init(GYRO_INT2_GPIO_Port, &GPIO_InitStruct);

  /*Configure GPIO pin : XL_CS_Pin */
  GPIO_InitStruct.Pin = XL_CS_Pin;
  GPIO_InitStruct.Mode = GPIO_MODE_OUTPUT_PP;
  GPIO_InitStruct.Pull = GPIO_NOPULL;
  GPIO_InitStruct.Speed = GPIO_SPEED_FREQ_LOW;
  HAL_GPIO_Init(XL_CS_GPIO_Port, &GPIO_InitStruct);

  /*Configure GPIO pin : XL_INT_Pin */
  GPIO_InitStruct.Pin = XL_INT_Pin;
  GPIO_InitStruct.Mode = GPIO_MODE_EVT_RISING;
  GPIO_InitStruct.Pull = GPIO_NOPULL;
  HAL_GPIO_Init(XL_INT_GPIO_Port, &GPIO_InitStruct);

}

/* USER CODE BEGIN 4 */
/* Defining the conditions necessary for state transitions */
State_t InitializeEvent(void) {
	osDelay(3000); // This is added to show it enters the initialize state for 3 seconds during testing
	return Idle;
}

State_t IdleEvent(void) {
	osThreadResume(MeasurementsHandle); // Resumes measurement if the previous state was Sleep
	HAL_GPIO_WritePin(Contactor_GPIO_Port, Contactor_Pin, 0);
	if (HAL_GPIO_ReadPin(Start_GPIO_Port, Start_Pin)) {
		return Precharging;
	} else if (HAL_GPIO_ReadPin(Charge_GPIO_Port, Charge_Pin)) {
		return Charging;
	} else if (HAL_GPIO_ReadPin(Stop_GPIO_Port, Stop_Pin)) {
		return Sleep;
	} else {
		return Idle;
	}
}

State_t PrechargingEvent(void) {
	osDelay(3000);
	return Run;
}

State_t RunEvent(void) {
	HAL_GPIO_WritePin(Contactor_GPIO_Port, Contactor_Pin, 1);
	if (HAL_GPIO_ReadPin(Stop_GPIO_Port, Stop_Pin)) {
		return Stop;
	} else {
		return Run;
	}
}

State_t StopEvent(void) {
	HAL_GPIO_WritePin(Contactor_GPIO_Port, Contactor_Pin, 0);
	if (HAL_GPIO_ReadPin(Reset_GPIO_Port, Reset_Pin)) {
		return Idle;
	} else {
		return Stop;
	}
}

State_t SleepEvent(void) {
	osThreadSuspend(MeasurementsHandle); // Pauses measurements
	if (HAL_GPIO_ReadPin(Reset_GPIO_Port, Reset_Pin)) {
		return Idle;
	} else {
		return Sleep;
	}
}

State_t NormalDangerFaultEvent(void) {
	HAL_GPIO_WritePin(Contactor_GPIO_Port, Contactor_Pin, 0);
	if (HAL_GPIO_ReadPin(Reset_GPIO_Port, Reset_Pin)) {
		return Idle;
	} else {
		return NormalDangerFault;
	}
}

State_t SevereDangerFaultEvent(void) {
	HAL_GPIO_WritePin(Contactor_GPIO_Port, Contactor_Pin, 0);
	return SevereDangerFault;
}

State_t ChargingEvent(void) {
	HAL_GPIO_WritePin(Contactor_GPIO_Port, Contactor_Pin, 1);
	if (BatteryPack.voltage > 51600) {
		return Charged;
	} else {
		return Charging;
	}
}

State_t ChargedEvent(void) {
	HAL_GPIO_WritePin(Contactor_GPIO_Port, Contactor_Pin, 0);
	if (HAL_GPIO_ReadPin(Reset_GPIO_Port, Reset_Pin)) {
		return Idle;
	} else {
		return Charged;
	}
}

State_t BalancingEvent(void) {
	return Balancing;
}

uint16_t Get_Voltage(void) {
	if (HAL_ADC_PollForConversion(&hadc1, 10) != HAL_OK) {
		Error_Handler();
	}
	uint16_t voltage = HAL_ADC_GetValue(&hadc1)*51800/4096;
	return voltage;
}

uint16_t Get_Current(void) {
	if (HAL_ADC_PollForConversion(&hadc1, 10) != HAL_OK) {
		Error_Handler();
	}
	uint16_t current = HAL_ADC_GetValue(&hadc1)*20000/4096;
	return current;
}

uint8_t Get_Temperature(void) {
	if (HAL_ADC_PollForConversion(&hadc1, 10) != HAL_OK) {
		Error_Handler();
	}
	uint8_t temperature = HAL_ADC_GetValue(&hadc1)*100/4096;
	return temperature;
}
/* USER CODE END 4 */

void StartMeasurements(void *argument)
{
  /* USER CODE BEGIN 5 */
  /* Infinite loop */
  for(;;)
  {
	if (HAL_ADC_Start(&hadc1) != HAL_OK) {
		Error_Handler();
	}
	if (HAL_ADC_PollForConversion(&hadc1, 10) != HAL_OK) {
		Error_Handler();
	}
	/* Measure Battery Pack voltage, current, temperature every 200 milliseconds */
	BatteryPack.temperature = HAL_ADC_GetValue(&hadc1)*100/4096;
	if (HAL_ADC_PollForConversion(&hadc1, 10) != HAL_OK) {
		Error_Handler();
	}
	BatteryPack.current = HAL_ADC_GetValue(&hadc1)*20000/4096;
	if (HAL_ADC_PollForConversion(&hadc1, 10) != HAL_OK) {
		Error_Handler();
	}
	BatteryPack.voltage = HAL_ADC_GetValue(&hadc1)*51800/4096;
	if (HAL_ADC_Stop(&hadc1) != HAL_OK) {
		Error_Handler();
	}

	char dataM[100];
	sprintf(dataM, "Voltage: %dmV,  Current: %dmA,  Temperature: %d˚C\r\n", BatteryPack.voltage, BatteryPack.current, BatteryPack.temperature);
	HAL_UART_Transmit(&huart2, (uint8_t*)dataM, strlen(dataM), 500);
	if (BatteryPack.voltage > SevereDangerVoltage || BatteryPack.current > SevereDangerCurrent || BatteryPack.temperature > SevereDangerTemperature) {
		CurrentState = SevereDangerFault;
	} else if (BatteryPack.voltage > NormalDangerVoltage || BatteryPack.current > NormalDangerCurrent || BatteryPack.temperature > NormalDangerTemperature) {
		CurrentState = NormalDangerFault;
	}
	osDelay(200);
  }
  /* USER CODE END 5 */
}

void StartStateMachine(void *argument)
{
  /* USER CODE BEGIN StartStateMachine */
  /* Infinite loop */
  for(;;)
  {
	// Print CurrentState in serial terminal if the state changes
	if (OldState != CurrentState) {
		char dataState[100];
		sprintf(dataState, "Current State: %s\r\n", StateNames[CurrentState]);
		HAL_UART_Transmit(&huart2, (uint8_t*)dataState, strlen(dataState), 500);
	}
	OldState = CurrentState;
	CurrentState = (*SM[CurrentState].Event)();
	osDelay(200);
  }
  /* USER CODE END StartStateMachine */
}

void StartLed(void *argument)
{
  /* USER CODE BEGIN StartLed */
  /* Infinite loop */
  for(;;)
  {
	#ifdef LED_ENABLED
	  LedOn(CurrentState);
	#endif
	osDelay(500);
  }
  /* USER CODE END StartLed */
}

void HAL_TIM_PeriodElapsedCallback(TIM_HandleTypeDef *htim)
{
  if (htim->Instance == TIM1) {
    HAL_IncTick();
  }
}

void Error_Handler(void)
{
}

/************************ (C) COPYRIGHT STMicroelectronics *****END OF FILE****/
